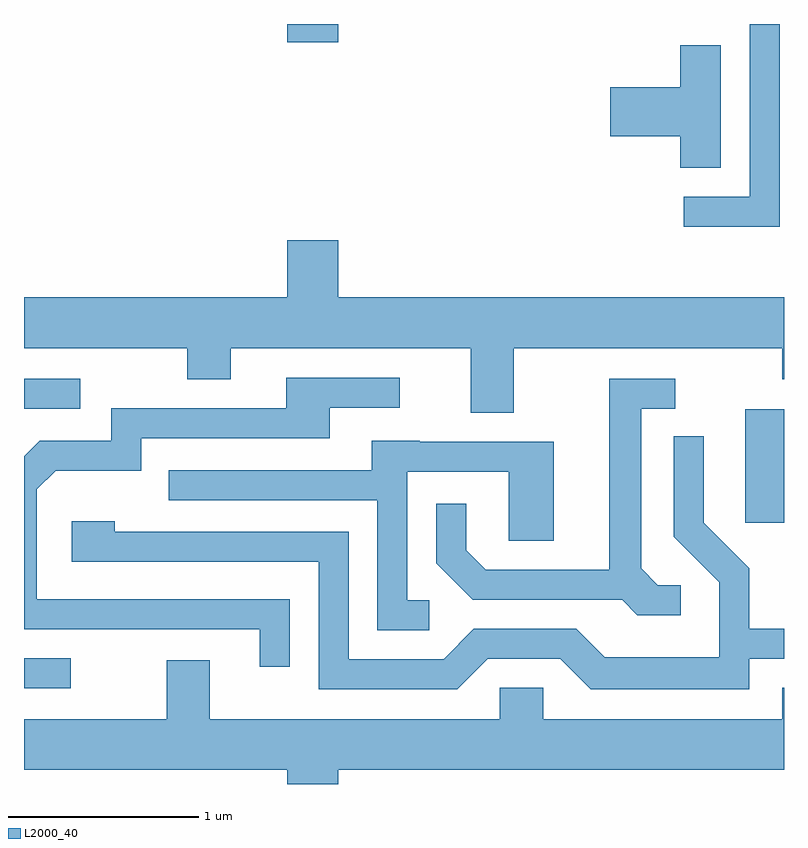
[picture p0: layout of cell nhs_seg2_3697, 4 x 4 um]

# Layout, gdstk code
import gdstk
lib = gdstk.Library(unit=1e-6, precision=1e-09)
def R(c, l, rs):  # rectangles x0, y0, x1, y1
    for r in rs: c.add(gdstk.rectangle(r[:2], r[2:], *l))
def P(c, l, *ps):  # polygons
    for p in ps: c.add(gdstk.Polygon(p, *l))
L2000_40 = (2000, 40)

nhs_seg2_3697 = lib.new_cell('nhs_seg2_3697')
R(nhs_seg2_3697, L2000_40, [(293.611,1044.306,293.858,1044.464), (297.406,1045.176,297.611,1045.774), (293.611,1045.776,293.908,1045.934), (294.996,1047.706,295.264,1047.802)])
P(nhs_seg2_3697, L2000_40, [(297.589,1047.802),(297.431,1047.802),(297.431,1046.894),(297.083,1046.894),(297.083,1046.736),(297.589,1046.736)],
  [(297.279,1047.689),(297.066,1047.689),(297.066,1047.469),(296.696,1047.469),(296.696,1047.211),(297.066,1047.211),(297.066,1047.046),(297.279,1047.046)],
  [(293.611,1046.096),(294.471,1046.096),(294.471,1045.931),(294.699,1045.931),(294.699,1046.096),(295.961,1046.096),(295.961,1045.756),(296.189,1045.756),(296.189,1046.096),(297.601,1046.096),(297.601,1045.931),(297.611,1045.931),(297.611,1046.364),(295.264,1046.364),(295.264,1046.664),(294.996,1046.664),(294.996,1046.364),(293.611,1046.364)],
  [(295.009,1044.774),(293.679,1044.774),(293.679,1045.353),(293.777,1045.451),(294.229,1045.451),(294.229,1045.621),(295.219,1045.621),(295.219,1045.781),(295.588,1045.781),(295.588,1045.939),(294.991,1045.939),(294.991,1045.779),(294.071,1045.779),(294.071,1045.609),(293.694,1045.609),(293.611,1045.526),(293.611,1044.616),(294.851,1044.616),(294.851,1044.418),(295.009,1044.418)],
  [(297.068,1044.849),(296.947,1044.849),(296.859,1044.937),(296.859,1045.776),(297.038,1045.776),(297.038,1045.934),(296.691,1045.934),(296.691,1044.929),(296.042,1044.929),(295.939,1045.032),(295.939,1045.277),(295.781,1045.277),(295.781,1044.964),(295.974,1044.771),(296.759,1044.771),(296.839,1044.691),(297.068,1044.691)],
  [(296.052,1044.461),(296.434,1044.461),(296.594,1044.301),(297.429,1044.301),(297.429,1044.461),(297.611,1044.461),(297.611,1044.619),(297.429,1044.619),(297.429,1044.937),(297.189,1045.177),(297.189,1045.632),(297.031,1045.632),(297.031,1045.103),(297.271,1044.863),(297.271,1044.469),(296.667,1044.469),(296.517,1044.619),(295.979,1044.619),(295.819,1044.459),(295.319,1044.459),(295.319,1045.129),(294.089,1045.129),(294.089,1045.184),(293.861,1045.184),(293.861,1044.971),(295.161,1044.971),(295.161,1044.301),(295.892,1044.301)],
  [(295.743,1044.769),(295.629,1044.769),(295.629,1045.446),(296.161,1045.446),(296.161,1045.081),(296.399,1045.081),(296.399,1045.604),(295.695,1045.604),(295.695,1045.609),(295.441,1045.609),(295.441,1045.454),(294.373,1045.454),(294.373,1045.296),(295.471,1045.296),(295.471,1044.611),(295.743,1044.611)],
  [(295.264,1043.876),(297.611,1043.876),(297.611,1044.309),(297.601,1044.309),(297.601,1044.144),(296.344,1044.144),(296.344,1044.309),(296.116,1044.309),(296.116,1044.144),(294.589,1044.144),(294.589,1044.454),(294.361,1044.454),(294.361,1044.144),(293.611,1044.144),(293.611,1043.876),(294.996,1043.876),(294.996,1043.802),(295.264,1043.802)])

lib.write_gds('nhs_seg2_3697.gds')
